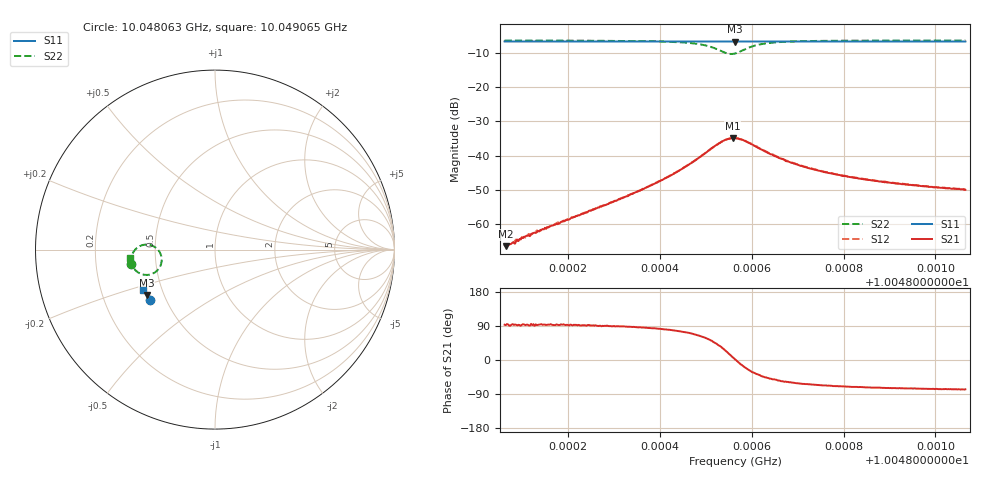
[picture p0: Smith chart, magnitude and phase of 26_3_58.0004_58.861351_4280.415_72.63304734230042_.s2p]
#  HZ  S  RI  R  50.00
! Rohde & Schwarz Vector Network Analyzer
! Rohde-Schwarz,ZNB20-2Port,1311601062101988,3.16
! Created: UTC 3/21/2024, 12:51:24 AM
! freq[Hz]  re:S11  im:S11  re:S21  im:S21  re:S12  im:S12  re:S22  im:S22
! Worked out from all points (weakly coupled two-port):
!   401 points, 10.048063 GHz to 10.049065 GHz, reference 50 ohm
!   highest |S21| = -34.91 dB at 10.048559 GHz (marker M1); lowest = -66.4 dB at 10.048065 GHz (marker M2)
!   lowest |S11| = -6.8 dB at 10.048564 GHz (marker M3), VSWR 2.68, Z = 20.1 - j12.8 ohm
!   |S11| at or under -10 dB: nowhere
!   |S22| runs from -10.4 to -6.5 dB; largest |S21 - S12| = 0.0013
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1.00480626e10  -0.3637 -0.2807  -2.67e-05 0.000495  -4.27e-05 0.000476  -0.4671 -0.078
1.00480651e10  -0.3638 -0.2807  -1.65e-05 0.000479  -7.18e-05 0.000476  -0.4672 -0.0779
1.00480802e10  -0.3644 -0.2798  -4.4e-05 0.00054  -4.34e-05 0.000549  -0.4673 -0.0763
1.00481052e10  -0.3652 -0.2785  -4.33e-05 0.000657  -9.83e-05 0.00064  -0.4674 -0.0736
1.00481303e10  -0.3664 -0.2772  -5.4e-05 0.000742  -8.25e-05 0.000768  -0.4676 -0.0708
1.00482305e10  -0.3703 -0.2716  -3.79e-05 0.00142  -0.000127 0.0014  -0.4674 -0.0581
1.00483233e10  -0.3736 -0.2664  6.15e-05 0.00248  -6.04e-05 0.00249  -0.4655 -0.0418
1.00483985e10  -0.3764 -0.262  0.000539 0.00415  0.000323 0.00422  -0.4587 -0.0215
1.00484611e10  -0.3786 -0.2583  0.00223 0.00684  0.00187 0.007  -0.4386 0.00594
1.00484912e10  -0.3795 -0.2563  0.00466 0.00876  0.00415 0.00901  -0.4125 0.0223
1.00485162e10  -0.3799 -0.2547  0.00885 0.00981  0.00814 0.0103  -0.3717 0.0276
1.00485413e10  -0.3801 -0.2533  0.015 0.00755  0.0143 0.00831  -0.3167 -0.00208
1.00485588e10  -0.3803 -0.2529  0.0178 0.0023  0.0174 0.00352  -0.2969 -0.0539
1.00485639e10  -0.3803 -0.2527  0.0179 0.000547  0.0178 0.00179  -0.298 -0.0703
1.00485764e10  -0.381 -0.2525  0.0169 -0.00344  0.0171 -0.00224  -0.313 -0.1062
1.00485914e10  -0.3818 -0.2521  0.0142 -0.00649  0.0147 -0.00543  -0.343 -0.1318
1.00486265e10  -0.3834 -0.2503  0.00837 -0.00817  0.00912 -0.00769  -0.4024 -0.1385
1.00486641e10  -0.385 -0.2482  0.00503 -0.00744  0.00562 -0.00702  -0.4335 -0.1237
1.00487318e10  -0.3877 -0.2444  0.00271 -0.00577  0.00307 -0.00564  -0.4552 -0.0999
1.00487994e10  -0.3901 -0.2404  0.00174 -0.00471  0.00206 -0.00471  -0.4632 -0.0842
1.00488997e10  -0.3934 -0.2344  0.0011 -0.00388  0.00137 -0.00382  -0.4685 -0.068
1.00490651e10  -0.3989 -0.2248  0.000693 -0.00309  0.000861 -0.0031  -0.4719 -0.0492
